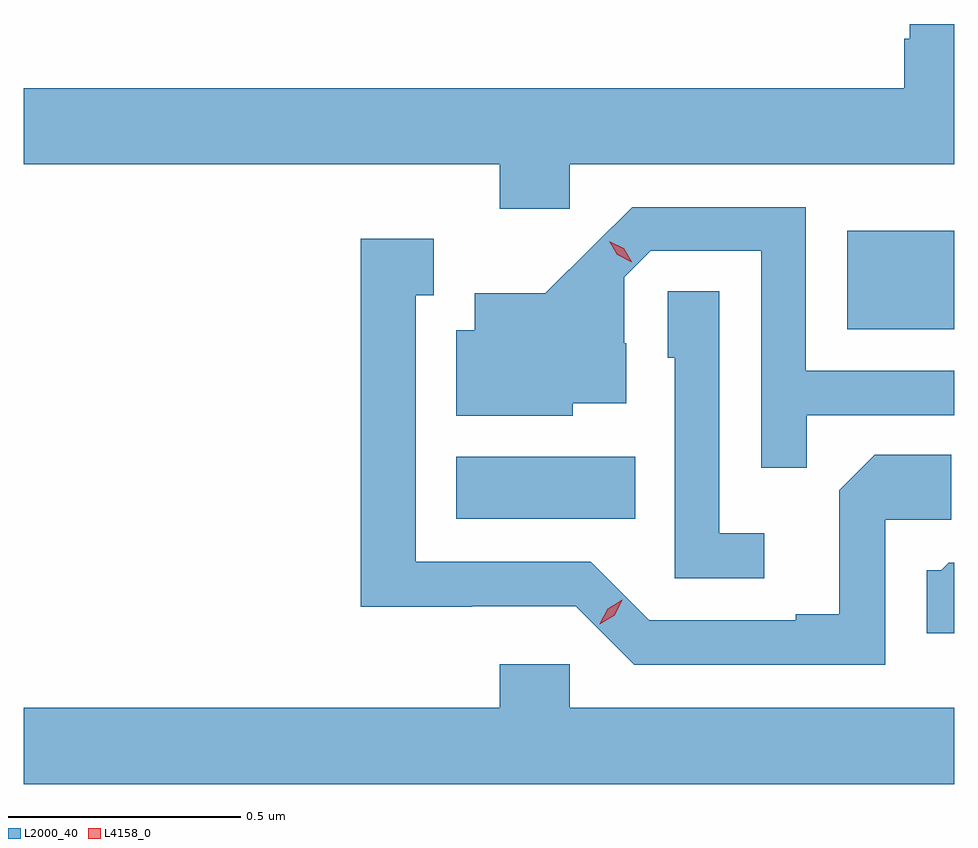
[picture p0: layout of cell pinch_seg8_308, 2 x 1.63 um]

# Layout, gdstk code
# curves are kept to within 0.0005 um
import gdstk
lib = gdstk.Library(unit=1e-6, precision=1e-09)
def R(c, l, rs):  # rectangles x0, y0, x1, y1
    for r in rs: c.add(gdstk.rectangle(r[:2], r[2:], *l))
def P(c, l, *ps):  # polygons
    for p in ps: c.add(gdstk.Polygon(p, *l))
L2000_40 = (2000, 40)
L4158_0 = (4158, 0)

pinch_seg8_308 = lib.new_cell('pinch_seg8_308')
R(pinch_seg8_308, L2000_40, [(515.882,1137.05,516.266,1137.184), (516.722,1137.458,516.952,1137.67)])
P(pinch_seg8_308, L2000_40, [(516.126,1137.812),(516.952,1137.812),(516.952,1138.114),(516.857,1138.114),(516.857,1138.082),(516.845,1138.082),(516.845,1137.976),(514.952,1137.976),(514.952,1137.812),(515.975,1137.812),(515.975,1137.717),(516.126,1137.717)],
  [(516.635,1137.273),(516.952,1137.273),(516.952,1137.369),(516.633,1137.369),(516.633,1137.72),(516.26,1137.72),(516.073,1137.535),(515.921,1137.535),(515.921,1137.456),(515.882,1137.456),(515.882,1137.272),(516.132,1137.272),(516.132,1137.299),(516.247,1137.299),(516.247,1137.428),(516.243,1137.428),(516.243,1137.57),(516.3,1137.627),(516.537,1137.627),(516.537,1137.16),(516.635,1137.16)],
  [(516.804,1137.048),(516.946,1137.048),(516.946,1137.188),(516.781,1137.188),(516.705,1137.112),(516.705,1136.845),(516.611,1136.845),(516.611,1136.832),(516.297,1136.832),(516.171,1136.958),(515.794,1136.958),(515.794,1137.531),(515.833,1137.531),(515.833,1137.652),(515.676,1137.652),(515.676,1136.861),(515.916,1136.861),(515.916,1136.862),(516.138,1136.862),(516.264,1136.736),(516.804,1136.736)],
  [(516.544,1137.019),(516.447,1137.019),(516.447,1137.539),(516.336,1137.539),(516.336,1137.396),(516.351,1137.396),(516.351,1136.922),(516.544,1136.922)],
  [(516.952,1136.956),(516.94,1136.956),(516.924,1136.94),(516.893,1136.94),(516.893,1136.804),(516.952,1136.804)],
  [(516.952,1136.644),(516.126,1136.644),(516.126,1136.737),(515.975,1136.737),(515.975,1136.644),(514.952,1136.644),(514.952,1136.48),(516.952,1136.48)])
P(pinch_seg8_308, L4158_0, [(516.259,1137.602),(516.228,1137.618),(516.211,1137.647),(516.211,1137.647),(516.211,1137.647),(516.242,1137.632),(516.259,1137.603),(516.259,1137.602)],
  [(516.19,1136.824),(516.19,1136.825),(516.207,1136.857),(516.239,1136.876),(516.239,1136.876),(516.239,1136.876),(516.222,1136.843),(516.19,1136.824)])

lib.write_gds('pinch_seg8_308.gds')
